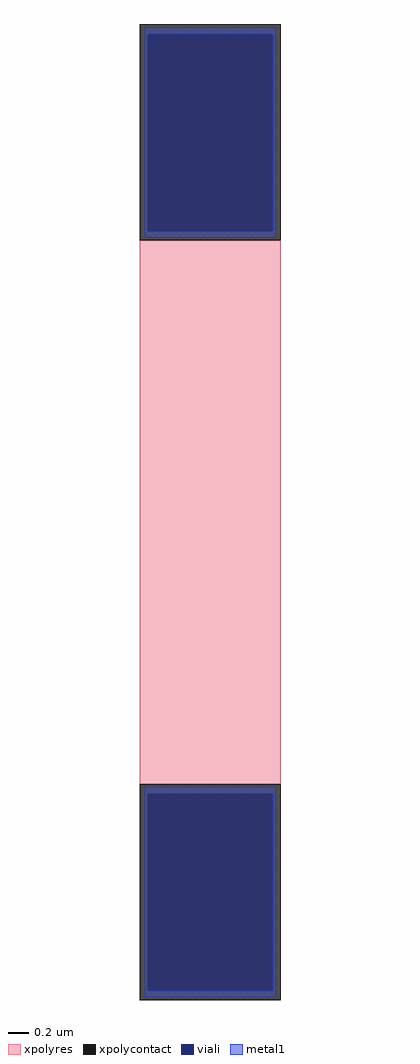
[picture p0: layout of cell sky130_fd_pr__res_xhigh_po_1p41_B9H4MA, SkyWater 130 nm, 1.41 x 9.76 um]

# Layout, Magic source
magic
tech sky130A
magscale 1 2
<< xpolycontact >>
rect -141 544 141 976
rect -141 -976 141 -544
<< xpolyres >>
rect -141 -544 141 544
<< viali >>
rect -125 562 125 956
rect -125 -957 125 -563
<< metal1 >>
rect -131 956 131 970
rect -131 562 -125 956
rect 125 562 131 956
rect -131 549 131 562
rect -131 -563 131 -549
rect -131 -957 -125 -563
rect 125 -957 131 -563
rect -131 -970 131 -957
<< end >>
